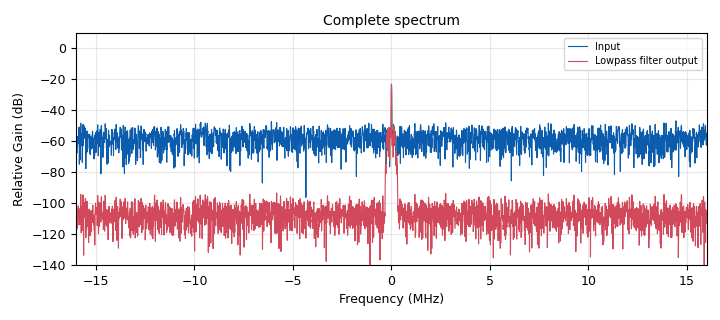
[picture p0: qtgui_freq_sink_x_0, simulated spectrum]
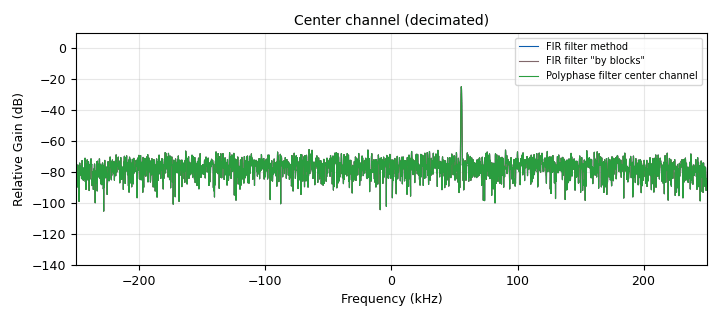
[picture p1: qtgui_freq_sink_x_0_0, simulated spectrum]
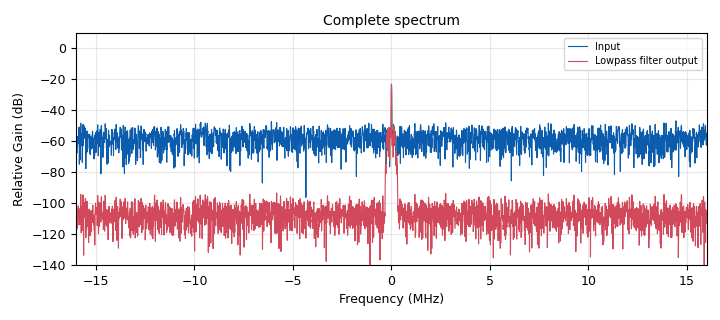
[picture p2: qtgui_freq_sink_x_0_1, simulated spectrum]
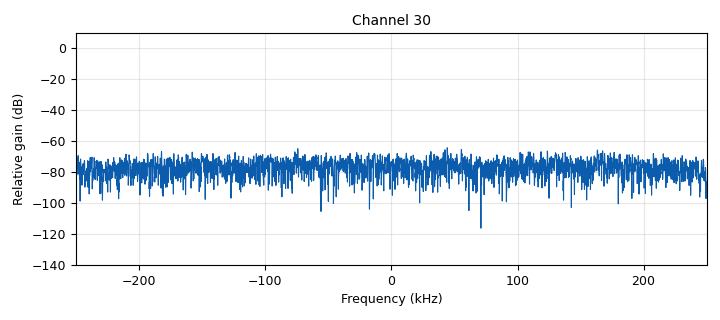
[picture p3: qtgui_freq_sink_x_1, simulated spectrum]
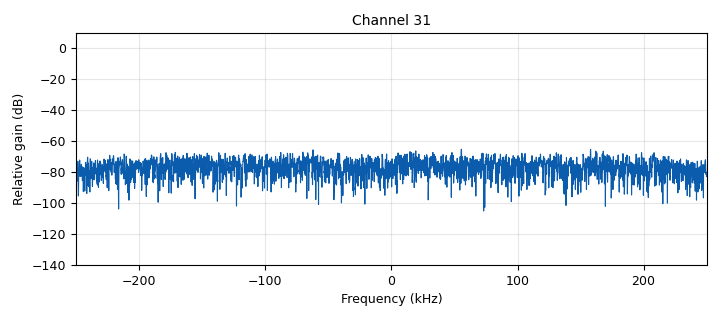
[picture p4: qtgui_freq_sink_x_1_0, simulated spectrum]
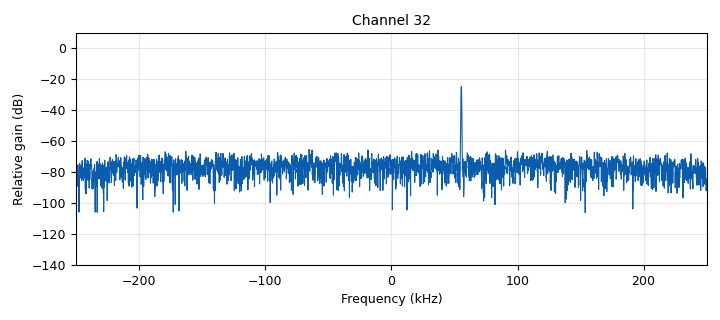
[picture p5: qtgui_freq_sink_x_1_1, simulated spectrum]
options:
  parameters:
    author: Daniel Estevez
    generate_options: qt_gui
    id: polyphase_filter
    output_language: python
    title: Polyphase filter demo
  states: {}

blocks:
- name: num_channels
  id: variable
  parameters:
    value: '64'
  states: {}
- name: num_taps
  id: variable
  parameters:
    value: taps_per_channel * num_channels
  states: {}
- name: polyphase_taps
  id: variable
  parameters:
    value: scipy.signal.remez(num_taps, [0, 0.35/num_channels, 0.65/num_channels, 0.5], [1, 0])
  states: {}
- name: samp_rate
  id: variable
  parameters:
    value: 32e6
  states: {}
- name: taps_per_channel
  id: variable
  parameters:
    value: '8'
  states: {}
- name: analog_noise_source_x_0
  id: analog_noise_source_x
  parameters:
    amp: '0.2'
    noise_type: analog.GR_GAUSSIAN
    seed: '0'
    type: complex
  states: {}
- name: analog_sig_source_x_0
  id: analog_sig_source_x
  parameters:
    amp: 1/num_channels * 3
    freq: '0.1'
    offset: '-0.5/num_channels * 3'
    phase: '0'
    samp_rate: samp_rate
    type: float
    waveform: analog.GR_SAW_WAVE
  states: {}
- name: analog_sig_source_x_0_0
  id: analog_sig_source_x
  parameters:
    amp: '1000'
    freq: '0.001'
    offset: '0'
    phase: '-np.pi'
    samp_rate: samp_rate/100
    type: float
    waveform: analog.GR_SAW_WAVE
  states: {state: disabled}
- name: blocks_add_xx_0
  id: blocks_add_xx
  parameters:
    num_inputs: '8'
    type: complex
    vlen: num_channels
  states: {}
- name: blocks_add_xx_1
  id: blocks_add_xx
  parameters:
    type: complex
  states: {}
- name: blocks_complex_to_interleaved_char_0
  id: blocks_complex_to_interleaved_char
  parameters:
    scale_factor: '128'
    vector_output: 'False'
  states: {}
- name: blocks_deinterleave_0
  id: blocks_deinterleave
  parameters:
    num_streams: '5'
    type: complex
  states: {}
- name: blocks_delay_0
  id: blocks_delay
  parameters:
    delay: '1'
    type: complex
    vlen: num_channels
  states: {}
- name: blocks_delay_0_0
  id: blocks_delay
  parameters:
    delay: '2'
    type: complex
    vlen: num_channels
  states: {}
- name: blocks_delay_0_0_0
  id: blocks_delay
  parameters:
    delay: '6'
    type: complex
    vlen: num_channels
  states: {}
- name: blocks_delay_0_1
  id: blocks_delay
  parameters:
    delay: '3'
    type: complex
    vlen: num_channels
  states: {}
- name: blocks_delay_0_1_0
  id: blocks_delay
  parameters:
    delay: '7'
    type: complex
    vlen: num_channels
  states: {}
- name: blocks_delay_0_2
  id: blocks_delay
  parameters:
    delay: '4'
    type: complex
    vlen: num_channels
  states: {}
- name: blocks_delay_0_3
  id: blocks_delay
  parameters:
    delay: '5'
    type: complex
    vlen: num_channels
  states: {}
- name: blocks_integrate_xx_0
  id: blocks_integrate_xx
  parameters:
    decim: num_channels
    type: complex
  states: {}
- name: blocks_keep_m_in_n_0
  id: blocks_keep_m_in_n
  parameters:
    m: '1'
    n: num_channels
    offset: num_channels//2
    type: complex
  states: {}
- name: blocks_keep_m_in_n_0_0
  id: blocks_keep_m_in_n
  parameters:
    m: '5'
    n: num_channels
    offset: num_channels//2-2
    type: complex
  states: {}
- name: blocks_keep_one_in_n_0
  id: blocks_keep_one_in_n
  parameters:
    n: num_channels
    type: complex
  states: {}
- name: blocks_multiply_const_vxx_0
  id: blocks_multiply_const_vxx
  parameters:
    const: polyphase_taps[0*num_channels:1*num_channels][::-1]
    type: complex
    vlen: num_channels
  states: {}
- name: blocks_multiply_const_vxx_0_0
  id: blocks_multiply_const_vxx
  parameters:
    const: polyphase_taps[1*num_channels:2*num_channels][::-1]
    type: complex
    vlen: num_channels
  states: {}
- name: blocks_multiply_const_vxx_0_0_0
  id: blocks_multiply_const_vxx
  parameters:
    const: polyphase_taps[2*num_channels:3*num_channels][::-1]
    type: complex
    vlen: num_channels
  states: {}
- name: blocks_multiply_const_vxx_0_0_0_0
  id: blocks_multiply_const_vxx
  parameters:
    const: polyphase_taps[3*num_channels:4*num_channels][::-1]
    type: complex
    vlen: num_channels
  states: {}
- name: blocks_multiply_const_vxx_0_0_0_0_0
  id: blocks_multiply_const_vxx
  parameters:
    const: polyphase_taps[4*num_channels:5*num_channels][::-1]
    type: complex
    vlen: num_channels
  states: {}
- name: blocks_multiply_const_vxx_0_0_0_0_0_0
  id: blocks_multiply_const_vxx
  parameters:
    const: polyphase_taps[5*num_channels:6*num_channels][::-1]
    type: complex
    vlen: num_channels
  states: {}
- name: blocks_multiply_const_vxx_0_0_0_0_0_0_0
  id: blocks_multiply_const_vxx
  parameters:
    const: polyphase_taps[6*num_channels:7*num_channels][::-1]
    type: complex
    vlen: num_channels
  states: {}
- name: blocks_multiply_const_vxx_0_0_0_0_0_0_0_0
  id: blocks_multiply_const_vxx
  parameters:
    const: polyphase_taps[7*num_channels:8*num_channels][::-1]
    type: complex
    vlen: num_channels
  states: {}
- name: blocks_stream_to_vector_0
  id: blocks_stream_to_vector
  parameters:
    num_items: num_channels
    type: complex
  states: {}
- name: blocks_stream_to_vector_1
  id: blocks_stream_to_vector
  parameters:
    num_items: 2 * num_channels
    type: byte
  states: {}
- name: blocks_throttle_0
  id: blocks_throttle
  parameters:
    samples_per_second: samp_rate
    type: complex
  states: {}
- name: blocks_vco_c_0
  id: blocks_vco_c
  parameters:
    amplitude: '0.2'
    samp_rate: samp_rate
    sensitivity: 2 * np.pi * samp_rate
  states: {}
- name: blocks_vco_c_0_0
  id: blocks_vco_c
  parameters:
    amplitude: '0.002'
    samp_rate: samp_rate/100
    sensitivity: 2 * np.pi * 5
  states: {state: disabled}
- name: blocks_vector_source_x_0
  id: blocks_vector_source_x
  parameters:
    repeat: 'False'
    type: float
    vector: polyphase_taps
  states: {state: disabled}
- name: blocks_vector_to_stream_0
  id: blocks_vector_to_stream
  parameters:
    num_items: num_channels
    type: complex
  states: {}
- name: blocks_vector_to_stream_0_0
  id: blocks_vector_to_stream
  parameters:
    num_items: num_channels
    type: complex
  states: {}
- name: blocks_vector_to_stream_1
  id: blocks_vector_to_stream
  parameters:
    num_items: num_channels
    type: complex
  states: {}
- name: blocks_vector_to_stream_2
  id: blocks_vector_to_stream
  parameters:
    num_items: num_channels
    type: complex
  states: {}
- name: fft_vxx_0
  id: fft_vxx
  parameters:
    fft_size: num_channels
    forward: 'True'
    shift: 'True'
    type: complex
    window: '[]'
  states: {}
- name: fir_filter_xxx_0
  id: fir_filter_xxx
  parameters:
    decim: '1'
    taps: polyphase_taps
    type: ccc
  states: {}
- name: guppi_guppi_sink_0
  id: guppi_guppi_sink
  parameters:
    filename: test_guppi.0000.raw
    ndim: 2**19
    npol: '1'
    obsbw: samp_rate
    obsfreq: 1e9 - 0.5*samp_rate/num_channels
    obsnchan: num_channels
  states: {}
- name: import_0
  id: import
  parameters:
    imports: import scipy.signal
  states: {}
- name: import_1
  id: import
  parameters:
    imports: import numpy as np
  states: {}
- name: qtgui_freq_sink_x_0
  id: qtgui_freq_sink_x
  parameters:
    bw: samp_rate
    fc: '0'
    fftsize: '4096'
    gui_hint: tabs@0:0,0,1,1
    label1: Input
    label2: Lowpass filter output
    name: Complete spectrum
    nconnections: '2'
    type: complex
  states: {}
- name: qtgui_freq_sink_x_0_0
  id: qtgui_freq_sink_x
  parameters:
    bw: samp_rate/num_channels
    fc: '0'
    fftsize: '4096'
    gui_hint: tabs@0:1,0,1,1
    label1: FIR filter method
    label2: FIR filter "by blocks"
    label3: Polyphase filter center channel
    name: Center channel (decimated)
    nconnections: '3'
    type: complex
  states: {}
- name: qtgui_freq_sink_x_0_1
  id: qtgui_freq_sink_x
  parameters:
    bw: samp_rate
    fc: '0'
    fftsize: '4096'
    gui_hint: tabs@1:1,0,1,5
    label1: Input
    label2: Lowpass filter output
    name: Complete spectrum
    nconnections: '2'
    type: complex
  states: {}
- name: qtgui_freq_sink_x_1
  id: qtgui_freq_sink_x
  parameters:
    bw: samp_rate/num_channels
    fc: '0'
    fftsize: '4096'
    gui_hint: tabs@1:0,0,1,1
    label: ''
    legend: 'False'
    name: f'Channel {num_channels//2-2}'
    type: complex
    units: ''
  states: {}
- name: qtgui_freq_sink_x_1_0
  id: qtgui_freq_sink_x
  parameters:
    bw: samp_rate/num_channels
    fc: '0'
    fftsize: '4096'
    gui_hint: tabs@1:0,1,1,1
    label: ''
    legend: 'False'
    name: f'Channel {num_channels//2-1}'
    type: complex
    units: ''
  states: {}
- name: qtgui_freq_sink_x_1_1
  id: qtgui_freq_sink_x
  parameters:
    bw: samp_rate/num_channels
    fc: '0'
    fftsize: '4096'
    gui_hint: tabs@1:0,2,1,1
    label: ''
    legend: 'False'
    name: f'Channel {num_channels//2}'
    type: complex
    units: ''
  states: {}
- name: qtgui_freq_sink_x_1_2
  id: qtgui_freq_sink_x
  parameters:
    bw: samp_rate/num_channels
    fc: '0'
    fftsize: '4096'
    gui_hint: tabs@1:0,3,1,1
    label: ''
    legend: 'False'
    name: f'Channel {num_channels//2+1}'
    type: complex
    units: ''
  states: {}
- name: qtgui_freq_sink_x_1_3
  id: qtgui_freq_sink_x
  parameters:
    bw: samp_rate/num_channels
    fc: '0'
    fftsize: '4096'
    gui_hint: tabs@1:0,4,1,1
    label: ''
    legend: 'False'
    name: f'Channel {num_channels//2+2}'
    type: complex
    units: ''
  states: {}
- name: qtgui_time_sink_x_0
  id: qtgui_time_sink_x
  parameters:
    autoscale: 'True'
    size: num_taps
    srate: '1'
    type: float
  states: {state: disabled}
- name: rational_resampler_xxx_0
  id: rational_resampler_xxx
  parameters:
    decim: '1'
    interp: '100'
    type: ccc
  states: {state: disabled}
- name: tabs
  id: qtgui_tab_widget
  parameters:
    label0: Filters
    label1: Polyphase 5 central channels
    num_tabs: '2'
  states: {}
- name: virtual_sink_0
  id: virtual_sink
  parameters:
    stream_id: signal
  states: {}
- name: virtual_sink_1
  id: virtual_sink
  parameters:
    stream_id: polyphase_out
  states: {}
- name: virtual_sink_1_0
  id: virtual_sink
  parameters:
    stream_id: sum_all
  states: {}
- name: virtual_sink_2
  id: virtual_sink
  parameters:
    stream_id: center_channel
  states: {}
- name: virtual_source_0
  id: virtual_source
  parameters:
    stream_id: signal
  states: {}
- name: virtual_source_1
  id: virtual_source
  parameters:
    stream_id: polyphase_out
  states: {}
- name: virtual_source_1_0
  id: virtual_source
  parameters:
    stream_id: polyphase_out
  states: {}
- name: virtual_source_2
  id: virtual_source
  parameters:
    stream_id: center_channel
  states: {}
- name: virtual_source_2_0
  id: virtual_source
  parameters:
    stream_id: sum_all
  states: {}
- name: virtual_source_3
  id: virtual_source
  parameters:
    stream_id: polyphase_out
  states: {}

connections:
- [analog_noise_source_x_0, '0', blocks_throttle_0, '0']
- [analog_sig_source_x_0, '0', blocks_vco_c_0, '0']
- [analog_sig_source_x_0_0, '0', blocks_vco_c_0_0, '0']
- [blocks_add_xx_0, '0', blocks_vector_to_stream_1, '0']
- [blocks_add_xx_0, '0', fft_vxx_0, '0']
- [blocks_add_xx_1, '0', virtual_sink_0, '0']
- [blocks_complex_to_interleaved_char_0, '0', blocks_stream_to_vector_1, '0']
- [blocks_deinterleave_0, '0', qtgui_freq_sink_x_1, '0']
- [blocks_deinterleave_0, '1', qtgui_freq_sink_x_1_0, '0']
- [blocks_deinterleave_0, '2', qtgui_freq_sink_x_1_1, '0']
- [blocks_deinterleave_0, '3', qtgui_freq_sink_x_1_2, '0']
- [blocks_deinterleave_0, '4', qtgui_freq_sink_x_1_3, '0']
- [blocks_delay_0, '0', blocks_multiply_const_vxx_0_0, '0']
- [blocks_delay_0_0, '0', blocks_multiply_const_vxx_0_0_0, '0']
- [blocks_delay_0_0_0, '0', blocks_multiply_const_vxx_0_0_0_0_0_0_0, '0']
- [blocks_delay_0_1, '0', blocks_multiply_const_vxx_0_0_0_0, '0']
- [blocks_delay_0_1_0, '0', blocks_multiply_const_vxx_0_0_0_0_0_0_0_0, '0']
- [blocks_delay_0_2, '0', blocks_multiply_const_vxx_0_0_0_0_0, '0']
- [blocks_delay_0_3, '0', blocks_multiply_const_vxx_0_0_0_0_0_0, '0']
- [blocks_integrate_xx_0, '0', virtual_sink_1_0, '0']
- [blocks_keep_m_in_n_0, '0', virtual_sink_2, '0']
- [blocks_keep_m_in_n_0_0, '0', blocks_deinterleave_0, '0']
- [blocks_keep_one_in_n_0, '0', qtgui_freq_sink_x_0_0, '0']
- [blocks_multiply_const_vxx_0, '0', blocks_add_xx_0, '0']
- [blocks_multiply_const_vxx_0_0, '0', blocks_add_xx_0, '1']
- [blocks_multiply_const_vxx_0_0_0, '0', blocks_add_xx_0, '2']
- [blocks_multiply_const_vxx_0_0_0_0, '0', blocks_add_xx_0, '3']
- [blocks_multiply_const_vxx_0_0_0_0_0, '0', blocks_add_xx_0, '4']
- [blocks_multiply_const_vxx_0_0_0_0_0_0, '0', blocks_add_xx_0, '5']
- [blocks_multiply_const_vxx_0_0_0_0_0_0_0, '0', blocks_add_xx_0, '6']
- [blocks_multiply_const_vxx_0_0_0_0_0_0_0_0, '0', blocks_add_xx_0, '7']
- [blocks_stream_to_vector_0, '0', blocks_delay_0, '0']
- [blocks_stream_to_vector_0, '0', blocks_delay_0_0, '0']
- [blocks_stream_to_vector_0, '0', blocks_delay_0_0_0, '0']
- [blocks_stream_to_vector_0, '0', blocks_delay_0_1, '0']
- [blocks_stream_to_vector_0, '0', blocks_delay_0_1_0, '0']
- [blocks_stream_to_vector_0, '0', blocks_delay_0_2, '0']
- [blocks_stream_to_vector_0, '0', blocks_delay_0_3, '0']
- [blocks_stream_to_vector_0, '0', blocks_multiply_const_vxx_0, '0']
- [blocks_stream_to_vector_1, '0', guppi_guppi_sink_0, '0']
- [blocks_throttle_0, '0', blocks_add_xx_1, '0']
- [blocks_vco_c_0, '0', blocks_add_xx_1, '1']
- [blocks_vco_c_0_0, '0', rational_resampler_xxx_0, '0']
- [blocks_vector_source_x_0, '0', qtgui_time_sink_x_0, '0']
- [blocks_vector_to_stream_0, '0', blocks_keep_m_in_n_0, '0']
- [blocks_vector_to_stream_0_0, '0', blocks_keep_m_in_n_0_0, '0']
- [blocks_vector_to_stream_1, '0', blocks_integrate_xx_0, '0']
- [blocks_vector_to_stream_2, '0', blocks_complex_to_interleaved_char_0, '0']
- [fft_vxx_0, '0', virtual_sink_1, '0']
- [fir_filter_xxx_0, '0', blocks_keep_one_in_n_0, '0']
- [fir_filter_xxx_0, '0', qtgui_freq_sink_x_0, '1']
- [fir_filter_xxx_0, '0', qtgui_freq_sink_x_0_1, '1']
- [rational_resampler_xxx_0, '0', blocks_add_xx_1, '1']
- [virtual_source_0, '0', blocks_stream_to_vector_0, '0']
- [virtual_source_0, '0', fir_filter_xxx_0, '0']
- [virtual_source_0, '0', qtgui_freq_sink_x_0, '0']
- [virtual_source_0, '0', qtgui_freq_sink_x_0_1, '0']
- [virtual_source_1, '0', blocks_vector_to_stream_0, '0']
- [virtual_source_1_0, '0', blocks_vector_to_stream_0_0, '0']
- [virtual_source_2, '0', qtgui_freq_sink_x_0_0, '2']
- [virtual_source_2_0, '0', qtgui_freq_sink_x_0_0, '1']
- [virtual_source_3, '0', blocks_vector_to_stream_2, '0']

metadata:
  file_format: 1
  grc_version: 3.10.2.0
